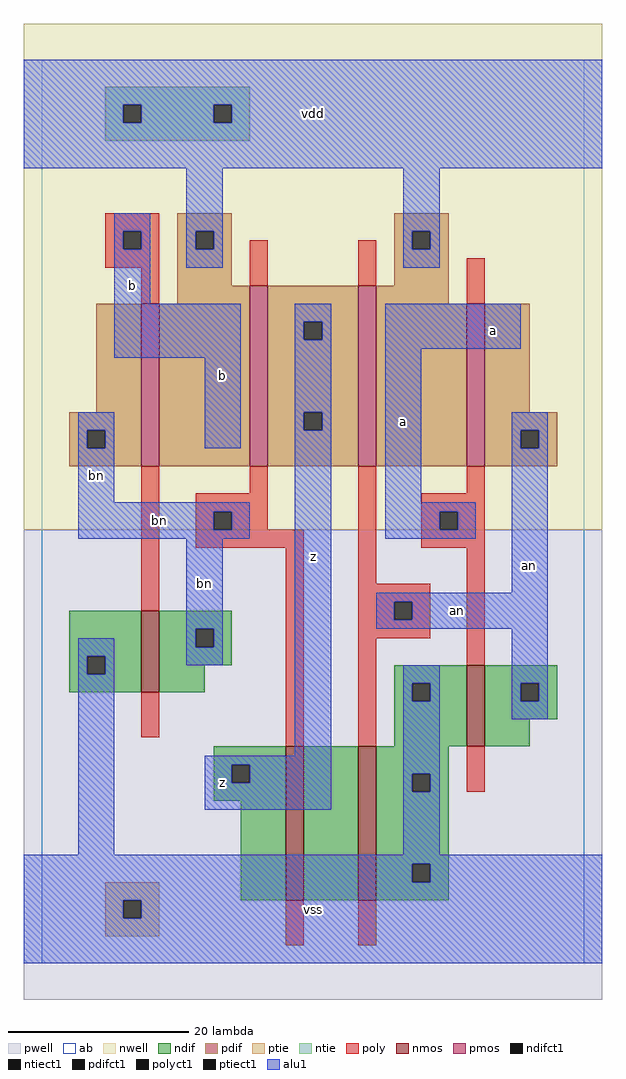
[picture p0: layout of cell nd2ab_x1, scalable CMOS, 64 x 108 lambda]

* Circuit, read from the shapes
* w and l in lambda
.subckt nd2ab_x1 a an b bn vdd vss z
M1 bn b vss vss nfet w=9 l=2
M2 n1 bn z vss nfet w=17 l=2
M3 vss an n1 vss nfet w=17 l=2
M4 an a vss vss nfet w=9 l=2
M5 vdd b bn vdd pfet w=18 l=2
M6 z bn vdd vdd pfet w=20 l=2
M7 vdd an z vdd pfet w=20 l=2
M8 an a vdd vdd pfet w=18 l=2
.ends

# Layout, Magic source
magic
tech scmos
<< ab >>
rect 0 0 60 100
<< nwell >>
rect -2 48 62 104
<< pwell >>
rect -2 -4 62 48
<< poly >>
rect 7 81 13 83
rect 7 79 9 81
rect 11 79 13 81
rect 7 77 13 79
rect 11 73 13 77
rect 23 75 25 80
rect 35 75 37 80
rect 47 73 49 78
rect 11 39 13 55
rect 23 52 25 55
rect 17 50 25 52
rect 17 48 19 50
rect 21 48 25 50
rect 17 46 29 48
rect 11 25 13 30
rect 27 24 29 46
rect 35 42 37 55
rect 47 52 49 55
rect 42 50 49 52
rect 42 48 44 50
rect 46 48 49 50
rect 42 46 49 48
rect 35 40 43 42
rect 35 38 39 40
rect 41 38 43 40
rect 35 36 43 38
rect 35 24 37 36
rect 47 33 49 46
rect 47 19 49 24
rect 27 2 29 7
rect 35 2 37 7
<< ndif >>
rect 3 34 11 39
rect 3 32 5 34
rect 7 32 11 34
rect 3 30 11 32
rect 13 37 21 39
rect 13 35 17 37
rect 19 35 21 37
rect 13 33 21 35
rect 13 30 18 33
rect 39 31 47 33
rect 39 29 41 31
rect 43 29 47 31
rect 39 24 47 29
rect 49 31 57 33
rect 49 29 53 31
rect 55 29 57 31
rect 49 27 57 29
rect 49 24 54 27
rect 19 22 27 24
rect 19 20 21 22
rect 23 20 27 22
rect 19 18 27 20
rect 22 7 27 18
rect 29 7 35 24
rect 37 21 45 24
rect 37 19 41 21
rect 43 19 45 21
rect 37 11 45 19
rect 37 9 41 11
rect 43 9 45 11
rect 37 7 45 9
<< pdif >>
rect 15 81 21 83
rect 15 79 17 81
rect 19 79 21 81
rect 39 81 45 83
rect 15 75 21 79
rect 39 79 41 81
rect 43 79 45 81
rect 39 75 45 79
rect 15 73 23 75
rect 6 61 11 73
rect 3 59 11 61
rect 3 57 5 59
rect 7 57 11 59
rect 3 55 11 57
rect 13 55 23 73
rect 25 71 35 75
rect 25 69 29 71
rect 31 69 35 71
rect 25 61 35 69
rect 25 59 29 61
rect 31 59 35 61
rect 25 55 35 59
rect 37 73 45 75
rect 37 55 47 73
rect 49 61 54 73
rect 49 59 57 61
rect 49 57 53 59
rect 55 57 57 59
rect 49 55 57 57
<< alu1 >>
rect -2 95 62 100
rect -2 93 9 95
rect 11 93 19 95
rect 21 93 62 95
rect -2 88 62 93
rect 8 81 12 83
rect 8 79 9 81
rect 11 79 12 81
rect 8 73 12 79
rect 16 81 20 88
rect 16 79 17 81
rect 19 79 20 81
rect 16 77 20 79
rect 40 81 44 88
rect 40 79 41 81
rect 43 79 44 81
rect 40 77 44 79
rect 8 67 22 73
rect 4 59 8 61
rect 4 57 5 59
rect 7 57 8 59
rect 18 57 22 67
rect 28 71 32 73
rect 28 69 29 71
rect 31 69 32 71
rect 28 61 32 69
rect 28 59 29 61
rect 31 59 32 61
rect 4 51 8 57
rect 4 50 23 51
rect 4 48 19 50
rect 21 48 23 50
rect 4 47 23 48
rect 16 37 20 47
rect 4 34 8 36
rect 4 32 5 34
rect 7 32 8 34
rect 16 35 17 37
rect 19 35 20 37
rect 16 33 20 35
rect 4 12 8 32
rect 28 23 32 59
rect 38 68 53 73
rect 38 51 42 68
rect 52 59 56 61
rect 52 57 53 59
rect 55 57 56 59
rect 38 50 48 51
rect 38 48 44 50
rect 46 48 48 50
rect 38 47 48 48
rect 52 41 56 57
rect 37 40 56 41
rect 37 38 39 40
rect 41 38 56 40
rect 37 37 56 38
rect 18 22 32 23
rect 18 20 21 22
rect 23 20 32 22
rect 18 17 32 20
rect 40 31 44 33
rect 40 29 41 31
rect 43 29 44 31
rect 40 21 44 29
rect 52 31 56 37
rect 52 29 53 31
rect 55 29 56 31
rect 52 27 56 29
rect 40 19 41 21
rect 43 19 44 21
rect 40 12 44 19
rect -2 11 62 12
rect -2 9 41 11
rect 43 9 62 11
rect -2 7 62 9
rect -2 5 9 7
rect 11 5 62 7
rect -2 0 62 5
<< ptie >>
rect 7 7 13 9
rect 7 5 9 7
rect 11 5 13 7
rect 7 3 13 5
<< ntie >>
rect 7 95 23 97
rect 7 93 9 95
rect 11 93 19 95
rect 21 93 23 95
rect 7 91 23 93
<< nmos >>
rect 11 30 13 39
rect 47 24 49 33
rect 27 7 29 24
rect 35 7 37 24
<< pmos >>
rect 11 55 13 73
rect 23 55 25 75
rect 35 55 37 75
rect 47 55 49 73
<< polyct1 >>
rect 9 79 11 81
rect 19 48 21 50
rect 44 48 46 50
rect 39 38 41 40
<< ndifct1 >>
rect 5 32 7 34
rect 17 35 19 37
rect 41 29 43 31
rect 53 29 55 31
rect 21 20 23 22
rect 41 19 43 21
rect 41 9 43 11
<< ntiect1 >>
rect 9 93 11 95
rect 19 93 21 95
<< ptiect1 >>
rect 9 5 11 7
<< pdifct1 >>
rect 17 79 19 81
rect 41 79 43 81
rect 5 57 7 59
rect 29 69 31 71
rect 29 59 31 61
rect 53 57 55 59
<< labels >>
rlabel alu1 6 54 6 54 6 bn
rlabel alu1 10 75 10 75 6 b
rlabel alu1 20 20 20 20 6 z
rlabel alu1 18 42 18 42 6 bn
rlabel alu1 13 49 13 49 6 bn
rlabel alu1 20 65 20 65 6 b
rlabel alu1 30 6 30 6 6 vss
rlabel alu1 30 45 30 45 6 z
rlabel alu1 40 60 40 60 6 a
rlabel alu1 30 94 30 94 6 vdd
rlabel alu1 46 39 46 39 6 an
rlabel alu1 54 44 54 44 6 an
rlabel alu1 50 70 50 70 6 a
<< end >>
